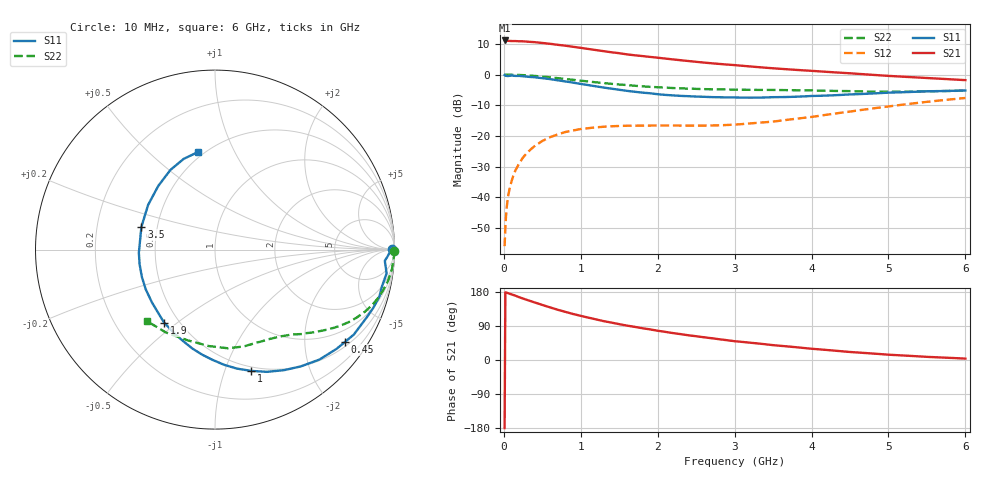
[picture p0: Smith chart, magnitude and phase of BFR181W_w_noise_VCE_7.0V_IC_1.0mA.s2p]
! (c) 2017  Infineon Technologies AG, Munich
! Infineon Technologies  Discrete & RF Semiconductors
! BFR181W
! VCE =  7.0 V,  IC =  1.0 mA
! Common Emitter S-Parameters:  Jan 2017
# GHz  S  MA  R  50
!  f  S11  S21  S12  S22
! GHz  MAG  ANG  MAG  ANG  MAG  ANG  MAG  ANG
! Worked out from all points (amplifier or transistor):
!   77 points, 10 MHz to 6 GHz, reference 50 ohm
!   highest |S21| = 11.1 dB at 10 MHz (marker M1)
!   |S21| within 3 dB of that: start of sweep to 1.161 GHz
!   unconditionally stable (mu >= 1): 2.319 GHz to 4.397 GHz
!   at 130 MHz: K = 0.05, MSG = 21.7 dB, |S12| = -32.5 dB
!   at 2.2 GHz: K = 0.96, MSG = 10.8 dB, |S12| = -16.6 dB
!   at 6 GHz: K = 0.85, MSG = 2.9 dB, |S12| = -7.6 dB
!   lowest NFmin = 0.87 dB at 450 MHz
!   S11 on the Smith chart (normalised r, x): 10 MHz: open; 450 MHz: 0.62, -3.03; 1 GHz: 0.46, -1.23; 1.9 GHz: 0.42, -0.45; 3.5 GHz: 0.41, +0.13; 6 GHz: 0.47, +0.73
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0.01  0.9834 0.1  3.602 -179.6  0.0016 79.9  1 -0.4
0.02  0.9576 -2.8  3.551 178.7  0.0033 98.7  0.9996 -0.7
0.03  0.9544 -3.1  3.551 178.0  0.0053 92.8  0.9991 -1.1
0.05  0.9481 -3.7  3.553 176.7  0.0094 88.7  0.9984 -2.0
0.12  0.9594 -9.7  3.522 171.7  0.0219 84.0  0.9928 -4.9
0.25  0.9398 -20.2  3.488 162.1  0.0447 76.9  0.9797 -10.2
0.45  0.8886 -35.3  3.324 148.7  0.0755 66.9  0.9404 -17.6
0.6  0.8448 -46.5  3.178 138.9  0.0954 60.6  0.9031 -22.6
0.7  0.8074 -53.7  3.06 132.6  0.1061 56.6  0.8759 -25.6
0.9  0.7399 -67.0  2.841 121.4  0.123 49.6  0.822 -30.8
1  0.7051 -73.4  2.729 116.5  0.1297 46.8  0.7954 -33.1
1.1  0.674 -79.6  2.616 111.7  0.1341 44.4  0.7725 -35.1
1.3  0.6139 -91.4  2.407 102.5  0.1415 39.8  0.7276 -39.0
1.5  0.5661 -102.7  2.233 94.6  0.1456 37.0  0.69 -42.4
1.9  0.4966 -124.7  1.944 80.8  0.1477 34.1  0.6319 -48.7
2.1  0.4669 -134.9  1.824 74.2  0.1481 34.0  0.6132 -51.7
2.4  0.445 -150.1  1.665 65.2  0.1475 35.3  0.5911 -56.5
3.1  0.4216 178.5  1.393 47.7  0.1565 43.9  0.5664 -67.2
3.5  0.4291 162.9  1.268 39.2  0.1715 49.8  0.5629 -73.5
4.1  0.4513 143.1  1.13 28.1  0.2132 54.8  0.5495 -84.8
5.1  0.5123 117.2  0.938 12.9  0.314 53.6  0.5272 -109.6
6  0.5516 100.0  0.813 3.7  0.4165 45.7  0.5498 -133.4
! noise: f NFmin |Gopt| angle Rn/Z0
0.45  0.87  0.69  18  0.51
0.9  0.95  0.64  36  0.47
1.9  1.56  0.44  83  0.32
2.4  1.81  0.38  99  0.34
